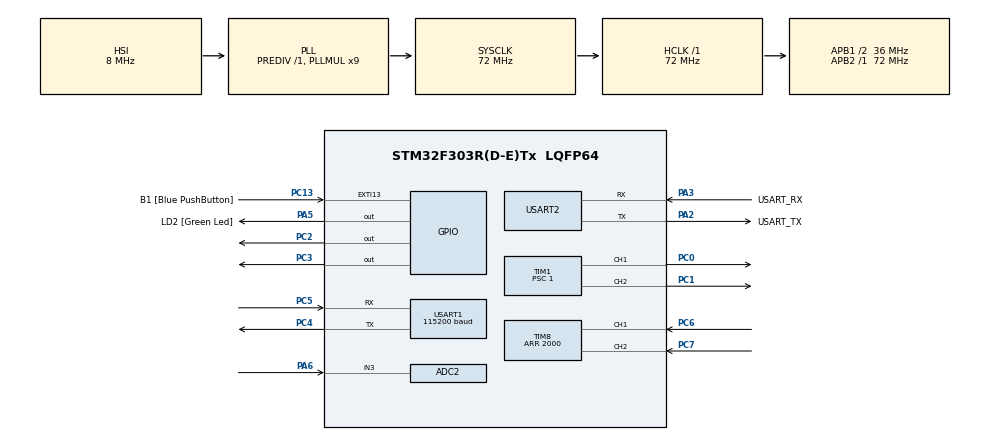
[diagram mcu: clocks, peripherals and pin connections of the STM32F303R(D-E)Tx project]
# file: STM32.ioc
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ADC2.Channel-0\#ChannelRegularConversion=ADC_CHANNEL_3
ADC2.NbrOfConversionFlag=1
ADC2.Offset-0\#ChannelRegularConversion=0
ADC2.OffsetNumber-0\#ChannelRegularConversion=ADC_OFFSET_NONE
ADC2.Rank-0\#ChannelRegularConversion=1
ADC2.SamplingTime-0\#ChannelRegularConversion=ADC_SAMPLETIME_1CYCLE_5
ADC2.SamplingTimeOPAMP-0\#ChannelRegularConversion=ADC_SAMPLETIME_61CYCLES_5
Mcu.Family=STM32F3
Mcu.Name=STM32F303R(D-E)Tx
Mcu.Package=LQFP64
NVIC.ADC1_2_IRQn=true\:0\:0\:false\:false\:true\:true\:true
NVIC.PriorityGroup=NVIC_PRIORITYGROUP_0
NVIC.TIM1_UP_TIM16_IRQn=true\:0\:0\:false\:false\:true\:true\:true
NVIC.USART1_IRQn=true\:0\:0\:false\:false\:true\:true\:true
PA13.GPIO_Label=TMS
PA13.Mode=Serial_Wire
PA13.Signal=SYS_JTMS-SWDIO
PA14.GPIO_Label=TCK
PA14.Mode=Serial_Wire
PA14.Signal=SYS_JTCK-SWCLK
PA2.GPIO_Label=USART_TX
PA2.GPIO_Mode=GPIO_MODE_AF_PP
PA2.GPIO_PuPd=GPIO_NOPULL
PA2.GPIO_Speed=GPIO_SPEED_FREQ_LOW
PA2.Mode=Asynchronous
PA2.Signal=USART2_TX
PA3.GPIO_Label=USART_RX
PA3.GPIO_Mode=GPIO_MODE_AF_PP
PA3.GPIO_PuPd=GPIO_NOPULL
PA3.GPIO_Speed=GPIO_SPEED_FREQ_LOW
PA3.Mode=Asynchronous
PA3.Signal=USART2_RX
PA5.GPIO_Label=LD2 [Green Led]
PA5.GPIO_Mode=GPIO_MODE_OUTPUT_PP
PA5.GPIO_PuPd=GPIO_NOPULL
PA5.GPIO_Speed=GPIO_SPEED_FREQ_LOW
PA5.Signal=GPIO_Output
PA6.Mode=IN3-Single-Ended
PA6.Signal=ADC2_IN3
PB3.GPIO_Label=SWO
PB3.Signal=SYS_JTDO-TRACESWO
PC0.Signal=S_TIM1_CH1
PC1.Signal=S_TIM1_CH2
PC13.GPIO_Label=B1 [Blue PushButton]
PC13.GPIO_ModeDefaultEXTI=GPIO_MODE_IT_FALLING
PC13.Signal=GPXTI13
PC14-OSC32_IN.Mode=LSE-External-Oscillator
PC14-OSC32_IN.Signal=RCC_OSC32_IN
PC15-OSC32_OUT.Mode=LSE-External-Oscillator
PC15-OSC32_OUT.Signal=RCC_OSC32_OUT
PC2.Signal=GPIO_Output
PC3.Signal=GPIO_Output
PC4.Mode=Asynchronous
PC4.Signal=USART1_TX
PC5.Mode=Asynchronous
PC5.Signal=USART1_RX
PC6.Signal=S_TIM8_CH1
PC7.Signal=S_TIM8_CH2
PF0-OSC_IN.Mode=HSE-External-Clock-Source
PF0-OSC_IN.Signal=RCC_OSC_IN
PF1-OSC_OUT.Signal=RCC_OSC_OUT
ProjectManager.HeapSize=0x200
ProjectManager.StackSize=0x400
ProjectManager.TargetToolchain=Makefile
RCC.AHBFreq_Value=72000000
RCC.APB1CLKDivider=RCC_HCLK_DIV2
RCC.APB1Freq_Value=36000000
RCC.APB1TimFreq_Value=72000000
RCC.APB2Freq_Value=72000000
RCC.APB2TimFreq_Value=72000000
RCC.CortexFreq_Value=72000000
RCC.HCLKFreq_Value=72000000
RCC.HSE_VALUE=8000000
RCC.HSI_VALUE=8000000
RCC.PLLM=8
RCC.PLLMUL=RCC_PLL_MUL9
RCC.PLLN=336
RCC.PLLP=RCC_PLLP_DIV4
RCC.PLLQ=7
RCC.RCC_PLLsource_Clock_Source_FROM_HSE=RCC_HSE_PREDIV_DIV2
RCC.SYSCLKFreq_VALUE=72000000
RCC.SYSCLKSourceVirtual=RCC_SYSCLKSOURCE_PLLCLK
RCC.USBFreq_Value=72000000
SH.S_TIM1_CH1.0=TIM1_CH1,PWM Generation1 CH1
SH.S_TIM1_CH2.0=TIM1_CH2,PWM Generation2 CH2
SH.S_TIM8_CH1.0=TIM8_CH1,Encoder_Interface
SH.S_TIM8_CH2.0=TIM8_CH2,Encoder_Interface
TIM1.Channel-PWM\ Generation1\ CH1=TIM_CHANNEL_1
TIM1.Channel-PWM\ Generation2\ CH2=TIM_CHANNEL_2
TIM1.CounterMode=TIM_COUNTERMODE_CENTERALIGNED1
TIM1.Period=3600
TIM1.Prescaler=1
TIM16.AutoReloadPreload=TIM_AUTORELOAD_PRELOAD_DISABLE
TIM16.Period=1000
TIM16.Prescaler=72-1
TIM8.EncoderMode=TIM_ENCODERMODE_TI12
TIM8.Period=2000
USART1.BaudRate=115200
USART1.VirtualMode-Asynchronous=VM_ASYNC
USART2.VirtualMode-Asynchronous=VM_ASYNC
VP_TIM16_VS_ClockSourceINT.Mode=Enable_Timer
board=NUCLEO-F303RE

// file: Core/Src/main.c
/* USER CODE BEGIN Header */
/**
  ******************************************************************************
  * @file           : main.c
  * @brief          : Main program body
  ******************************************************************************
  * @attention
  *
  * <h2><center>&copy; Copyright (c) 2021 STMicroelectronics.
  * All rights reserved.</center></h2>
  *
  * This software component is licensed by ST under BSD 3-Clause license,
  * the "License"; You may not use this file except in compliance with the
  * License. You may obtain a copy of the License at:
  *                        opensource.org/licenses/BSD-3-Clause
  *
  ******************************************************************************
  */
/* USER CODE END Header */
#include "main.h"
#include "adc.h"
#include "tim.h"
#include "usart.h"
#include "gpio.h"
#include "ema_pwm.h"
#include "ema_emvp.h"
#include "ema_emrps.h"
#include "ema_emsc.h"
#include "ema_emsm.h"
#include "icsp_uart.h"
#include "tim1.h"
#include <stdint.h>

void SystemClock_Config(void);
/* USER CODE BEGIN PFP */

void sendTxPacket(void);
void EnablePwm();
void DisablePwm();

/* USER CODE END PFP */

/* USER CODE BEGIN 0 */
uint16_t u16Counter;
uint16_t AD_RES;
uint16_t u16TaskCnt1ms;
uint16_t u16LedCntTimer;

/* USER CODE END 0 */

int main(void)
{

  /* MCU Configuration--------------------------------------------------------*/

  /* Reset of all peripherals, Initializes the Flash interface and the Systick. */
  HAL_Init();

  /* USER CODE BEGIN Init */
  AD_RES = 0;
  u16Counter = 0;
  u16TaskCnt1ms = 0;
  u16LedCntTimer = 0;

  /* USER CODE END Init */

  /* Configure the system clock */
  SystemClock_Config();

  /* Initialize all configured peripherals */
  MX_GPIO_Init();
  MX_USART2_UART_Init();
  MX_USART1_UART_Init();
  MX_ADC2_Init();
  MX_TIM8_Init();
  MX_TIM16_Init();
  MX_TIM1_Init();
  /* USER CODE BEGIN 2 */

  HAL_ADCEx_Calibration_Start(&hadc2, ADC_SINGLE_ENDED);

  uint16_t u16TaskCnt10ms = 0;
  uint16_t u16TaskCnt100ms = 0;
  uint16_t u16TaskCnt1s = 0;

  HAL_TIM_Encoder_Start(&htim8,TIM_CHANNEL_ALL);
  HAL_TIM_Base_Start_IT(&htim16);

  HAL_TIM_PWM_Start(&htim1, TIM_CHANNEL_1);
  HAL_TIM_PWM_Start(&htim1, TIM_CHANNEL_2);

  EnablePwm();
  InitUart();

  vDoInitEmsc();

  vDoInitEmsm();

  /* USER CODE END 2 */

  /* Infinite loop */
  /* USER CODE BEGIN WHILE */
  while (1)
  {
	  /* 1ms Loop */
	  if (u16TaskCnt1ms >= 1)
	  {
		  u16TaskCnt1ms = 0;
		  u16TaskCnt10ms++;
		  /* do Application code here */

		  /*
		   *  1ms Task here
		   */

		  /* BSW Input  */

		  /* ASW */

		  vDoClcEmsm();

		  vDoClcEmsc();

		  vDoClcEmrps();				 /* EMRPS */

		  vDoClcEmsc();					/* EMSC */

		  vDoUpdPwmEm1();			     /* EMPWM */

		  vDoClcDucyPwmInvt();           /* EMVP */

		  /* BSW Output */
		  //vDoSetPwmBswInvt();

		  /*
		   *  10ms Task here
		   */
		  if (u16TaskCnt10ms >= 10)
		  {
			  u16TaskCnt10ms = 0;
			  u16TaskCnt100ms++;

			  sendTxPacket();
		  }

		  /*
		   *  100ms Task here
		   */
		  if (u16TaskCnt100ms >= 10)
		  {
			  u16TaskCnt100ms = 0;
			  u16TaskCnt1s++;

			  HAL_GPIO_TogglePin(GPIOA, GPIO_PIN_5);
		  }

		  if (u16TaskCnt1s >= 10)
		  {
			  u16TaskCnt1s = 0;
		  }
	  }

    /* USER CODE END WHILE */

  }
}

void SystemClock_Config(void)
{
  RCC_OscInitTypeDef RCC_OscInitStruct = {0};
  RCC_ClkInitTypeDef RCC_ClkInitStruct = {0};
  RCC_PeriphCLKInitTypeDef PeriphClkInit = {0};

  /** Initializes the RCC Oscillators according to the specified parameters
  * in the RCC_OscInitTypeDef structure.
  */
  RCC_OscInitStruct.OscillatorType = RCC_OSCILLATORTYPE_HSI;
  RCC_OscInitStruct.HSIState = RCC_HSI_ON;
  RCC_OscInitStruct.HSICalibrationValue = RCC_HSICALIBRATION_DEFAULT;
  RCC_OscInitStruct.PLL.PLLState = RCC_PLL_ON;
  RCC_OscInitStruct.PLL.PLLSource = RCC_PLLSOURCE_HSI;
  RCC_OscInitStruct.PLL.PLLMUL = RCC_PLL_MUL9;
  RCC_OscInitStruct.PLL.PREDIV = RCC_PREDIV_DIV1;
  if (HAL_RCC_OscConfig(&RCC_OscInitStruct) != HAL_OK)
  {
    Error_Handler();
  }
  /** Initializes the CPU, AHB and APB buses clocks
  */
  RCC_ClkInitStruct.ClockType = RCC_CLOCKTYPE_HCLK|RCC_CLOCKTYPE_SYSCLK
                              |RCC_CLOCKTYPE_PCLK1|RCC_CLOCKTYPE_PCLK2;
  RCC_ClkInitStruct.SYSCLKSource = RCC_SYSCLKSOURCE_PLLCLK;
  RCC_ClkInitStruct.AHBCLKDivider = RCC_SYSCLK_DIV1;
  RCC_ClkInitStruct.APB1CLKDivider = RCC_HCLK_DIV2;
  RCC_ClkInitStruct.APB2CLKDivider = RCC_HCLK_DIV1;

  if (HAL_RCC_ClockConfig(&RCC_ClkInitStruct, FLASH_LATENCY_2) != HAL_OK)
  {
    Error_Handler();
  }
  PeriphClkInit.PeriphClockSelection = RCC_PERIPHCLK_USART1|RCC_PERIPHCLK_USART2
                              |RCC_PERIPHCLK_TIM1|RCC_PERIPHCLK_TIM16
                              |RCC_PERIPHCLK_TIM8|RCC_PERIPHCLK_ADC12;
  PeriphClkInit.Usart1ClockSelection = RCC_USART1CLKSOURCE_PCLK2;
  PeriphClkInit.Usart2ClockSelection = RCC_USART2CLKSOURCE_PCLK1;
  PeriphClkInit.Adc12ClockSelection = RCC_ADC12PLLCLK_DIV1;
  PeriphClkInit.Tim1ClockSelection = RCC_TIM1CLK_HCLK;
  PeriphClkInit.Tim16ClockSelection = RCC_TIM16CLK_HCLK;
  PeriphClkInit.Tim8ClockSelection = RCC_TIM8CLK_HCLK;
  if (HAL_RCCEx_PeriphCLKConfig(&PeriphClkInit) != HAL_OK)
  {
    Error_Handler();
  }
}

/* USER CODE BEGIN 4 */

void HAL_TIM_PeriodElapsedCallback(TIM_HandleTypeDef *htim)
{

	u16TaskCnt1ms = 1;
}

/* USER CODE END 4 */

void Error_Handler(void)
{
  __disable_irq();
  while (1)
  {
  }
}

/************************ (C) COPYRIGHT STMicroelectronics *****END OF FILE****/
